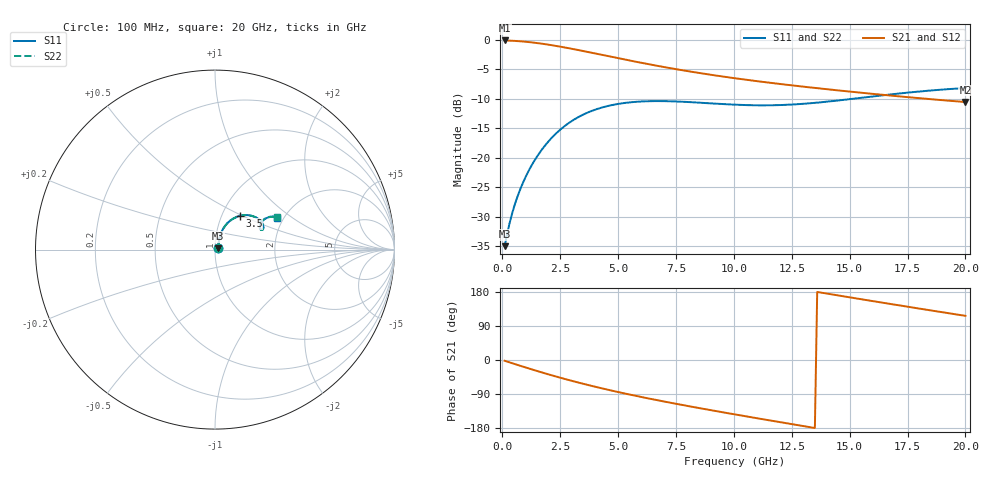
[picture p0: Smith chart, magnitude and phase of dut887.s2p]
! Touchstone file exported from HFSS 2024.1.0
!  File:  C:/UserFiles/LocalFiles/RDL_TSV_Batchsim/temp_RDL_TSV_887_1779931283.aedt
!  Generated:  09:41:18 AM May 28, 2026
!  Design:  RDL_TSV
!  Project:  temp_RDL_TSV_887_1779931283
!  Setup:  Setup1
!  Solution:  Sweep
! Variables:
!  dtsv = 7.25um
!  hbump = 3um
!  htsv = 67.87um
!  ldown = 400.64um
!  lrdl = 634.5um
!  p = 40
!  p1 = 53.04um
!  rhole = 10um
!  subl = 3739.92um
!  t = 450um
!  tdown = 3.2um
!  trdl = 4.81um
!  viad = 10um
!  wdown = 25.89um
!  wrdl = 18.87um
!  xbump = 18um
# GHz S MA R 50.000000
! Terminal data exported
! Port[1] = TM1_1_T1
! Port[2] = TM1_4_T1
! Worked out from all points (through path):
!   200 points, 100 MHz to 20 GHz, reference 50 ohm
!   highest |S21| = -0.14 dB at 100 MHz (marker M1); lowest = -10.6 dB at 20 GHz (marker M2)
!   group delay of S21, straight-line fit = 32.1 ps
!   lowest |S11| = -35.0 dB at 100 MHz (marker M3), VSWR 1.04, Z = 51.7 + j0.746 ohm
!   |S11| at or under -10 dB: start of sweep to 15.18 GHz
!   |S22| runs from -35.0 to -8.2 dB; largest |S21 - S12| = 1.9e-14
!   S11 on the Smith chart (normalised r, x): 100 MHz: 1.03, +0.01; 3.5 GHz: 1.21, +0.48; 20 GHz: 1.85, +0.78
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0.1  0.01787 23.8  0.9835 -2.0  0.9835 -2.0  0.01787 23.8
! Gamma 0 0 0 0
! Port Impedance 50 0 50 0
0.3  0.02721 47.9  0.9803 -6.0  0.9803 -6.0  0.02721 47.9
0.6  0.04365 61.6  0.9733 -11.9  0.9733 -11.9  0.04365 61.5
0.9  0.06192 67.3  0.9635 -17.7  0.9635 -17.7  0.0619 67.3
1.3  0.0885 69.8  0.9459 -25.3  0.9459 -25.3  0.08845 69.7
1.8  0.1238 68.7  0.9181 -34.5  0.9181 -34.5  0.1236 68.7
2.3  0.1592 65.3  0.8858 -43.3  0.8858 -43.3  0.1589 65.3
2.9  0.1986 59.9  0.8436 -53.4  0.8436 -53.4  0.1982 59.8
3.5  0.2322 53.9  0.8002 -62.9  0.8002 -62.9  0.2317 53.8
4.2  0.2626 47.1  0.7503 -73.4  0.7503 -73.4  0.2619 47.0
5.1  0.2876 39.3  0.6903 -85.9  0.6903 -85.9  0.2868 39.2
5.9  0.2987 33.5  0.6423 -96.3  0.6423 -96.3  0.2978 33.5
6.8  0.3018 28.5  0.5947 -107.3  0.5947 -107.3  0.3008 28.5
7.6  0.2991 25.4  0.5579 -116.7  0.5579 -116.7  0.298 25.4
8.4  0.2936 23.5  0.5256 -125.7  0.5256 -125.7  0.2924 23.4
10.1  0.2811 22.9  0.4694 -144.2  0.4694 -144.2  0.2798 23.0
11.7  0.2783 25.6  0.4279 -161.0  0.4279 -161.0  0.277 25.7
13.4  0.2904 29.2  0.3919 -178.5  0.3919 -178.5  0.2893 29.4
15.1  0.3149 31.3  0.3616 164.4  0.3616 164.4  0.3141 31.6
16.7  0.3424 31.3  0.337 148.5  0.337 148.5  0.3419 31.6
18.3  0.3681 29.8  0.3157 132.8  0.3157 132.8  0.3678 30.0
20  0.3892 27.2  0.2962 116.5  0.2962 116.5  0.3892 27.5
